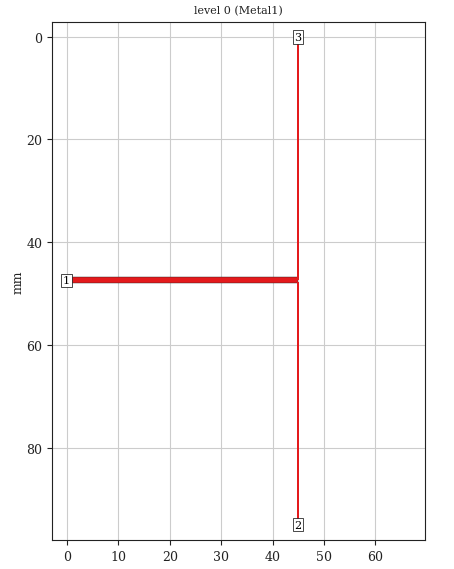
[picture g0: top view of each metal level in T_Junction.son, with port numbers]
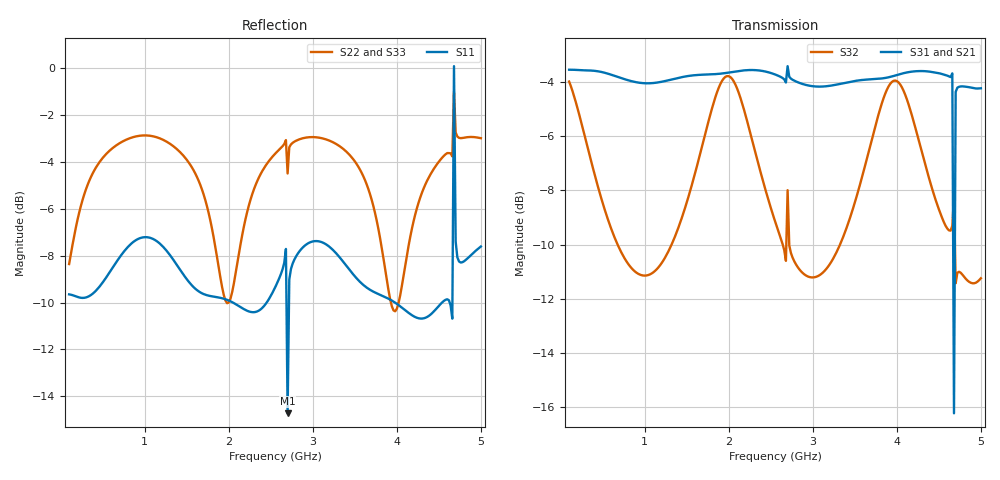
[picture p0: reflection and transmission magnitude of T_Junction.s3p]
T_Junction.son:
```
FTYP SONPROJ 19 ! Sonnet Project File
VER 18.53
HEADER
LIC SL685a1842
DAT 07/02/2025 05:53:16
BUILT_BY_CREATED xgeom 18.53-Lite 06/25/2025 21:43:06
BUILT_BY_SAVED sonnet 18.53-Lite
MDATE 07/02/2025 05:53:16
HDATE 07/02/2025 05:53:16
END HEADER
DIM
ANG DEG
CAP PF
CON /OH
FREQ GHZ
IND NH
LNG MM
RES OH
END DIM
CONTROL
VARSWP
OPTIONS  -d
SPEED 0
CACHE_ABS 2
Q_ACC N
END CONTROL
GEO
TMET "Lossless" 0 SUP 0 0 0 0
BMET "Lossless" 0 SUP 0 0 0 0
MET "Copper" 1 NOR 58000000 0.5 32 
BOX 1 66.7687 95.0732 524 748 20 0
      10 1 1 0 0 0 0 "Air"
      0.508 3.55 1 0.0029 0 0 0 "Rogers RO4003C"
TECHLAY METAL Metal1 <UNSPECIFIED> -2 -65534 
0 0 0 N 104 1 1 100 100 0 0 0 Y
END
END
VALVAR W_50 LNG 1.13 "Dim. Param."
VALVAR L0 LNG 45 "Dim. Param."
VALVAR W_100 LNG 0.272 "Dim. Param."
VALVAR L1 LNG 47.3 "Dim. Param."
LORGN 0 95.0732 U 
POR1 BOX
POLY 142 1
3
1 50 0 0 0 -0.07388041237 47.40951104 
POR1 BOX
POLY 156 1
0
3 50 0 0 0 44.97966031 0.1183071429 
POR1 BOX
POLY 194 1
2
2 50 0 0 0 44.97966031 94.95492143 
NUM 3
0 5 0 N 142 1 1 100 100 0 0 0 Y
TLAYNAM Metal1 INH
-0.07388041237 46.84451104
44.92611959 46.84451104
44.92611959 47.97451104
-0.07388041237 47.97451104
-0.07388041237 46.84451104
END
0 5 0 N 156 1 1 100 100 0 0 0 Y
TLAYNAM Metal1 INH
44.84366031 0.1183071429
45.11566031 0.1183071429
45.11566031 47.41830714
44.84366031 47.41830714
44.84366031 0.1183071429
END
0 5 0 N 194 1 1 100 100 0 0 0 Y
TLAYNAM Metal1 INH
44.84366031 47.65492143
45.11566031 47.65492143
45.11566031 94.95492143
44.84366031 94.95492143
44.84366031 47.65492143
END
END GEO
OPT
MAX 100
END OPT
VARSWP
ENABLED Y
FREQ Y AY ABS_ENTRY 0.1 5.0 -1 300 
VAR W_50 N 3.30468442 3.30468442 UNDEF
VAR L0 N 11.7227443 11.7227443 UNDEF
VAR W_100 N 6.88074124 6.88074124 UNDEF
VAR L1 N 16.0150091 16.0150091 UNDEF
END
END VARSWP
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```
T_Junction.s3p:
! Sonnet Data File
! From: sonnet Version : 18.53-Lite
! From Emgraph Data:
! Data File Written: 07/02/2025 05:58:26
!< HDATE 07/02/2025 05:53:16
!< MDATE 07/02/2025 05:53:16
!< PARAMS
!< W_50 = 1.13
!< L0 = 45.0
!< W_100 = 0.272
!< L1 = 47.3
!< END PARAMS
# GHZ S MA R 50.00000
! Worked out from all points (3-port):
!   246 points, 100 MHz to 5 GHz, reference 50 ohm
!   strongest paths, dB at 100 MHz, 1.32 GHz, 2.56 GHz, 3.78 GHz, 5 GHz:
!     S31: -3.5, -3.9, -3.7, -3.9, -4.2
!     S21: -3.5, -3.9, -3.8, -3.7, -4.2
!     S32: -4.0, -10.0, -9.2, -5.2, -11.2
!   lowest |S11| = -14.7 dB at 2.7 GHz (marker M1), VSWR 1.45, Z = 60.1 - j17.8 ohm
!   |S11| at or under -10 dB: 2.05 GHz to 2.45 GHz (399.8 MHz wide, 17.8 % of centre); 3.979 GHz to 4.537 GHz (558.5 MHz wide, 13.1 % of centre); 4.629 GHz to 4.661 GHz (32.44 MHz wide, 0.698 % of centre)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
0.1  0.3293 142.3  0.6649 -18.3  0.6652 -18.2
     0.6649 -18.3  0.3822 125.1  0.6326 -29.0
     0.6652 -18.2  0.6326 -29.0  0.3817 125.2
1.54  0.3475 -3.8  0.6532 83.4  0.6484 84.1
      0.6532 83.4  0.6232 -44.5  0.3971 103.6
      0.6484 84.1  0.3971 103.6  0.6308 -44.0
2.7  0.1835 -51.3  0.6697 -115.5  0.6753 -114.8
     0.6697 -115.5  0.5964 19.8  0.3985 -148.5
     0.6753 -114.8  0.3985 -148.5  0.5898 21.1
4.04  0.3105 168.4  0.6453 -10.2  0.653 -6.1
      0.6453 -10.2  0.3279 139.3  0.6248 -20.3
      0.653 -6.1  0.6248 -20.3  0.3129 147.1
5  0.4166 172.1  0.6157 176.5  0.6147 177.6
   0.6157 176.5  0.7095 -2.4  0.274 173.9
   0.6147 177.6  0.274 173.9  0.7105 -0.2
